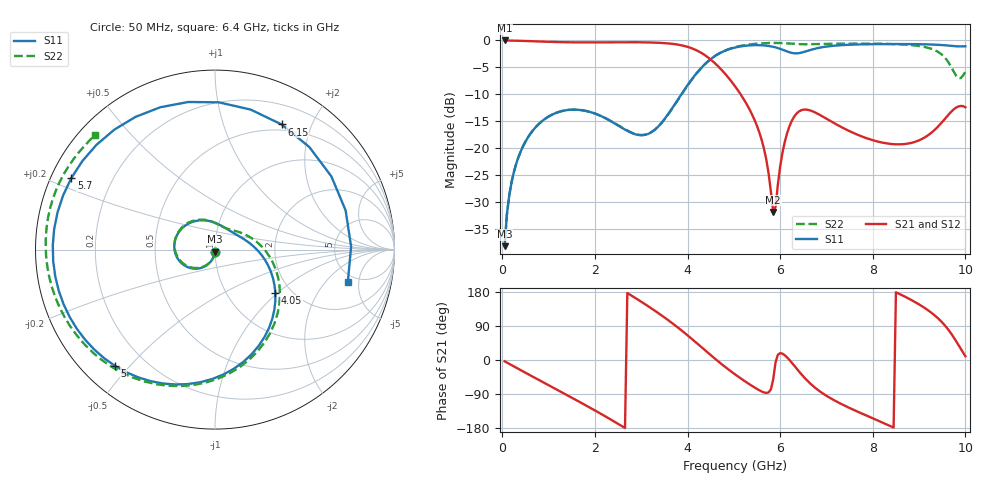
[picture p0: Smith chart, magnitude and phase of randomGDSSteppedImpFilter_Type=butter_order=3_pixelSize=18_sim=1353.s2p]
! freq	dB(S11)	phase(S11)	dB(S12)	phase(S12)
!  dB(S21)	phase(S21)	dB(S22)	phase(S22)
!S-par simulation data
#  GHz  S  DB  R 50
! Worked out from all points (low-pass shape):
!   200 points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, 50 MHz to 10 GHz, reference 50 ohm
!   highest |S21| = -0.01 dB at 50 MHz (marker M1); lowest = -31.8 dB at 5.85 GHz (marker M2)
!   |S21| within 3 dB of the highest: start of sweep to 4.42 GHz
!   lowest |S11| = -38.1 dB at 50 MHz (marker M3), VSWR 1.03, Z = 49.9 - j1.24 ohm
!   |S11| at or under -10 dB: start of sweep to 3.865 GHz
!   |S22| runs from -38.1 to -0.5 dB; largest |S21 - S12| = 0
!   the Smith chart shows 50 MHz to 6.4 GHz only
!   S11 on the Smith chart (normalised r, x): 50 MHz: 1.00, -0.02; 4.05 GHz: 1.67, -0.96; 5 GHz: 0.09, -0.46; 5.7 GHz: 0.06, +0.23; 6.15 GHz: 0.43, +1.58; 6.4 GHz: 4.21, -3.60
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0.05  -38.10 -92.3  -0.01 -3.4  -0.01 -3.4  -38.11 -92.5
0.2  -26.26 -103.0  -0.03 -13.5  -0.03 -13.5  -26.26 -103.6
0.5  -18.74 -123.1  -0.11 -33.6  -0.11 -33.6  -18.74 -124.7
1.15  -13.47 -165.3  -0.30 -76.4  -0.30 -76.4  -13.46 -168.5
1.75  -12.97 155.6  -0.37 -116.1  -0.37 -116.1  -12.96 151.5
2.65  -16.52 89.7  -0.33 -179.5  -0.33 -179.5  -16.47 91.3
3.4  -15.65 22.8  -0.45 121.1  -0.45 121.1  -15.67 36.6
4.05  -7.69 -35.4  -1.33 60.1  -1.33 60.1  -7.75 -28.8
4.45  -3.81 -75.8  -3.20 18.1  -3.20 18.1  -3.84 -72.9
5  -1.37 -130.7  -8.19 -35.6  -8.19 -35.6  -1.31 -127.3
5.05  -1.26 -135.5  -8.78 -40.0  -8.78 -40.0  -1.20 -131.7
5.7  -0.97 153.5  -22.03 -86.9  -22.03 -86.9  -0.51 179.1
5.85  -1.18 130.1  -31.75 -50.9  -31.75 -50.9  -0.47 169.2
6.15  -2.05 62.0  -17.19 6.8  -17.19 6.8  -0.55 150.3
6.4  -2.36 -13.6  -13.19 -29.3  -13.19 -29.3  -0.68 136.3
6.7  -1.66 -83.6  -13.13 -67.6  -13.13 -67.6  -0.69 120.4
7.35  -0.87 -153.8  -16.18 -117.9  -16.18 -117.9  -0.60 85.2
8.35  -0.68 153.8  -19.14 -172.8  -19.14 -172.8  -0.66 28.6
9.05  -0.71 125.1  -18.30 142.9  -18.30 142.9  -1.10 -19.9
9.5  -0.86 107.4  -15.11 99.0  -15.11 99.0  -2.70 -73.7
9.8  -1.08 96.6  -12.44 49.6  -12.44 49.6  -6.54 -162.1
10  -1.08 90.2  -12.39 9.9  -12.39 9.9  -5.79 103.2
